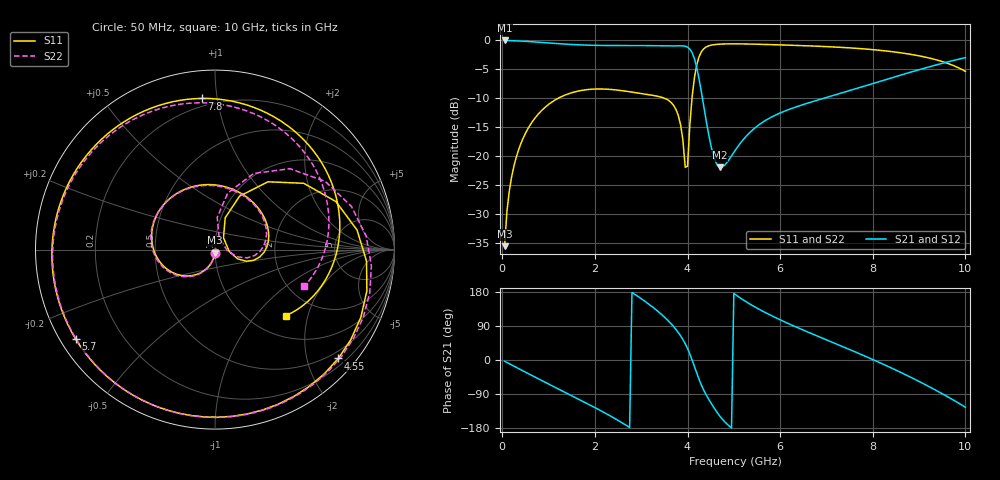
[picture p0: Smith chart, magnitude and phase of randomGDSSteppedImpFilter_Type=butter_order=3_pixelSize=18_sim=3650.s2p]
! freq	dB(S11)	phase(S11)	dB(S12)	phase(S12)
!  dB(S21)	phase(S21)	dB(S22)	phase(S22)
!S-par simulation data
#  GHz  S  DB  R 50
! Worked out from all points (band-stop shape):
!   200 points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, 50 MHz to 10 GHz, reference 50 ohm
!   highest |S21| = 0.00 dB at 50 MHz (marker M1); lowest = -22.0 dB at 4.7 GHz (marker M2)
!   |S21| within 3 dB of the highest: start of sweep to 4.141 GHz; 9.985693 GHz to end of sweep
!   lowest |S11| = -35.6 dB at 50 MHz (marker M3), VSWR 1.03, Z = 49.9 - j1.65 ohm
!   |S11| at or under -10 dB: start of sweep to 1.21 GHz; 3.498 GHz to 4.097 GHz (598.7 MHz wide, 15.8 % of centre)
!   |S22| runs from -35.6 to -0.6 dB; largest |S21 - S12| = 0
!   S11 on the Smith chart (normalised r, x): 50 MHz: 1.00, -0.03; 4.55 GHz: 0.34, -2.61; 5.7 GHz: 0.04, -0.29; 7.8 GHz: 0.15, +0.91; 10 GHz: 1.41, -1.47
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0.05  -35.62 -93.0  -0.00 -3.3  -0.00 -3.3  -35.62 -92.9
0.2  -23.69 -103.2  -0.04 -13.0  -0.04 -13.0  -23.69 -102.8
0.5  -16.09 -123.0  -0.16 -32.1  -0.16 -32.1  -16.08 -122.0
1.15  -10.27 -164.3  -0.53 -72.6  -0.53 -72.6  -10.27 -161.9
1.75  -8.60 158.0  -0.80 -109.6  -0.80 -109.6  -8.60 161.9
2.7  -8.83 92.3  -0.88 -174.1  -0.88 -174.1  -8.83 99.3
3.4  -9.75 30.6  -0.93 124.3  -0.93 124.3  -9.75 39.1
3.8  -12.97 -15.3  -0.94 72.6  -0.94 72.6  -13.02 -8.4
3.95  -21.96 -7.5  -1.00 42.9  -1.00 42.9  -23.04 -6.1
4  -21.78 54.5  -1.16 30.3  -1.16 30.3  -23.24 70.2
4.05  -14.61 72.2  -1.49 15.8  -1.49 15.8  -14.93 86.1
4.2  -4.19 36.8  -4.75 -35.1  -4.75 -35.1  -4.23 47.2
4.35  -1.45 -4.4  -11.37 -79.5  -11.37 -79.5  -1.46 5.1
4.55  -0.76 -41.4  -19.69 -122.0  -19.69 -122.0  -0.76 -32.4
4.7  -0.64 -61.8  -21.98 -148.5  -21.98 -148.5  -0.64 -52.9
5.05  -0.59 -98.3  -18.79 171.3  -18.79 171.3  -0.58 -89.4
5.7  -0.70 -147.3  -13.77 124.0  -13.77 124.0  -0.68 -137.1
6.7  -0.97 154.9  -10.60 68.5  -10.60 68.5  -0.94 168.8
7.8  -1.46 95.0  -7.97 12.0  -7.97 12.0  -1.44 114.4
8.35  -1.88 63.2  -6.62 -18.1  -6.62 -18.1  -1.87 85.3
9.2  -3.01 10.5  -4.61 -69.2  -4.61 -69.2  -3.01 34.5
10  -5.35 -42.9  -2.98 -124.6  -2.98 -124.6  -5.39 -22.1
